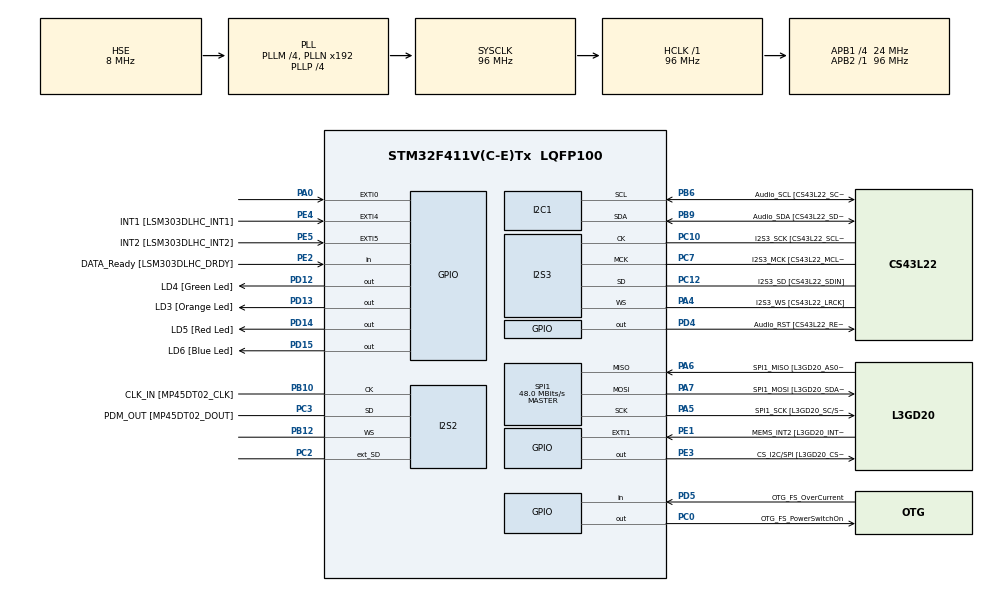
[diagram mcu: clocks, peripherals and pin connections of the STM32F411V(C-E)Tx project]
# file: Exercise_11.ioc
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FREERTOS.BinarySemaphores01=CriticalResourceSemaphore,Dynamic,NULL
FREERTOS.Tasks01=GreenLED_Task,0,128,Start_GreenLED_Task,Default,NULL,Dynamic,NULL,NULL;RedLED_Task,2,128,Start_RedLED_Task,Default,NULL,Dynamic,NULL,NULL;OrangeLED_Task,1,128,Start_OrangeLED_Task,Default,NULL,Dynamic,NULL,NULL
I2S2.AudioFreq=I2S_AUDIOFREQ_96K
I2S2.ErrorAudioFreq=0.15 %
I2S2.FullDuplexMode=I2S_FULLDUPLEXMODE_ENABLE
I2S2.Instance=SPI$Index
I2S2.RealAudioFreq=96.153 KHz
I2S2.VirtualMode=I2S_MODE_MASTER
I2S3.AudioFreq=I2S_AUDIOFREQ_96K
I2S3.ErrorAudioFreq=-6.99 %
I2S3.FullDuplexMode=I2S_FULLDUPLEXMODE_DISABLE
I2S3.Instance=SPI$Index
I2S3.RealAudioFreq=89.285 KHz
I2S3.VirtualMode=I2S_MODE_MASTER
Mcu.Family=STM32F4
Mcu.Name=STM32F411V(C-E)Tx
Mcu.Package=LQFP100
NVIC.PriorityGroup=NVIC_PRIORITYGROUP_4
NVIC.TIM1_UP_TIM10_IRQn=true\:0\:0\:false\:false\:true\:false\:false\:true
NVIC.TimeBase=TIM1_UP_TIM10_IRQn
NVIC.TimeBaseIP=TIM1
PA0-WKUP.GPIO_ModeDefaultEXTI=GPIO_MODE_EVT_RISING
PA0-WKUP.Signal=GPXTI0
PA10.GPIO_Label=OTG_FS_ID
PA10.Signal=USB_OTG_FS_ID
PA11.GPIO_Label=OTG_FS_DM
PA11.Signal=USB_OTG_FS_DM
PA12.GPIO_Label=OTG_FS_DP
PA12.Signal=USB_OTG_FS_DP
PA13.GPIO_Label=SWDIO
PA13.Mode=Serial_Wire
PA13.Signal=SYS_JTMS-SWDIO
PA14.GPIO_Label=SWCLK
PA14.Mode=Serial_Wire
PA14.Signal=SYS_JTCK-SWCLK
PA4.GPIO_Label=I2S3_WS [CS43L22_LRCK]
PA4.GPIO_Mode=GPIO_MODE_AF_PP
PA4.GPIO_PuPd=GPIO_NOPULL
PA4.GPIO_Speed=GPIO_SPEED_FREQ_LOW
PA4.Mode=Half_Duplex_Master
PA4.Signal=I2S3_WS
PA5.GPIO_Label=SPI1_SCK [L3GD20_SC/SPC]
PA5.Mode=Full_Duplex_Master
PA5.Signal=SPI1_SCK
PA6.GPIO_Label=SPI1_MISO [L3GD20_AS0/SDO]
PA6.Mode=Full_Duplex_Master
PA6.Signal=SPI1_MISO
PA7.GPIO_Label=SPI1_MOSI [L3GD20_SDA/SDI/SDO]
PA7.Mode=Full_Duplex_Master
PA7.Signal=SPI1_MOSI
PA9.GPIO_Label=VBUS_FS
PA9.Signal=USB_OTG_FS_VBUS
PB10.GPIO_Label=CLK_IN [MP45DT02_CLK]
PB10.Mode=Full_Duplex_Master
PB10.Signal=I2S2_CK
PB12.Mode=Full_Duplex_Master
PB12.Signal=I2S2_WS
PB3.GPIO_Label=SWO
PB3.Signal=SYS_JTDO-SWO
PB6.GPIO_Label=Audio_SCL [CS43L22_SCL]
PB6.GPIO_Mode=GPIO_MODE_AF_OD
PB6.GPIO_PuPd=GPIO_NOPULL
PB6.GPIO_Speed=GPIO_SPEED_FREQ_LOW
PB6.Mode=I2C
PB6.Signal=I2C1_SCL
PB9.GPIO_Label=Audio_SDA [CS43L22_SDA]
PB9.GPIO_Mode=GPIO_MODE_AF_OD
PB9.GPIO_PuPd=GPIO_NOPULL
PB9.GPIO_Speed=GPIO_SPEED_FREQ_LOW
PB9.Mode=I2C
PB9.Signal=I2C1_SDA
PC0.GPIO_Label=OTG_FS_PowerSwitchOn
PC0.PinState=GPIO_PIN_SET
PC0.Signal=GPIO_Output
PC10.GPIO_Label=I2S3_SCK [CS43L22_SCLK]
PC10.GPIO_Mode=GPIO_MODE_AF_PP
PC10.GPIO_PuPd=GPIO_NOPULL
PC10.GPIO_Speed=GPIO_SPEED_FREQ_LOW
PC10.Mode=Half_Duplex_Master
PC10.Signal=I2S3_CK
PC12.GPIO_Label=I2S3_SD [CS43L22_SDIN]
PC12.GPIO_Mode=GPIO_MODE_AF_PP
PC12.GPIO_PuPd=GPIO_NOPULL
PC12.GPIO_Speed=GPIO_SPEED_FREQ_LOW
PC12.Mode=Half_Duplex_Master
PC12.Signal=I2S3_SD
PC14-OSC32_IN.GPIO_Label=PC14-OSC32_IN
PC14-OSC32_IN.Mode=LSE-External-Oscillator
PC14-OSC32_IN.Signal=RCC_OSC32_IN
PC15-OSC32_OUT.GPIO_Label=PC15-OSC32_OUT
PC15-OSC32_OUT.Mode=LSE-External-Oscillator
PC15-OSC32_OUT.Signal=RCC_OSC32_OUT
PC2.Mode=Full_Duplex_Master
PC2.Signal=I2S2_ext_SD
PC3.GPIO_Label=PDM_OUT [MP45DT02_DOUT]
PC3.Mode=Full_Duplex_Master
PC3.Signal=I2S2_SD
PC7.GPIO_Label=I2S3_MCK [CS43L22_MCLK]
PC7.GPIO_Mode=GPIO_MODE_AF_PP
PC7.GPIO_PuPd=GPIO_NOPULL
PC7.GPIO_Speed=GPIO_SPEED_FREQ_LOW
PC7.Mode=Master_Clock_Activated
PC7.Signal=I2S3_MCK
PD12.GPIO_Label=LD4 [Green Led]
PD12.GPIO_PuPd=GPIO_NOPULL
PD12.GPIO_Speed=GPIO_SPEED_FREQ_LOW
PD12.Signal=GPIO_Output
PD13.GPIO_Label=LD3 [Orange Led]
PD13.GPIO_PuPd=GPIO_NOPULL
PD13.GPIO_Speed=GPIO_SPEED_FREQ_LOW
PD13.Signal=GPIO_Output
PD14.GPIO_Label=LD5 [Red Led]
PD14.GPIO_PuPd=GPIO_NOPULL
PD14.GPIO_Speed=GPIO_SPEED_FREQ_LOW
PD14.Signal=GPIO_Output
PD15.GPIO_Label=LD6 [Blue Led]
PD15.GPIO_PuPd=GPIO_NOPULL
PD15.GPIO_Speed=GPIO_SPEED_FREQ_LOW
PD15.Signal=GPIO_Output
PD4.GPIO_Label=Audio_RST [CS43L22_RESET]
PD4.Signal=GPIO_Output
PD5.GPIO_Label=OTG_FS_OverCurrent
PD5.Signal=GPIO_Input
PE1.GPIO_Label=MEMS_INT2 [L3GD20_INT2]
PE1.GPIO_ModeDefaultEXTI=GPIO_MODE_EVT_RISING
PE1.Signal=GPXTI1
PE2.GPIO_Label=DATA_Ready [LSM303DLHC_DRDY]
PE2.Signal=GPIO_Input
PE3.GPIO_Label=CS_I2C/SPI [L3GD20_CS_I2C/SPI]
PE3.Signal=GPIO_Output
PE4.GPIO_Label=INT1 [LSM303DLHC_INT1]
PE4.GPIO_ModeDefaultEXTI=GPIO_MODE_EVT_RISING
PE4.Signal=GPXTI4
PE5.GPIO_Label=INT2 [LSM303DLHC_INT2]
PE5.GPIO_ModeDefaultEXTI=GPIO_MODE_EVT_RISING
PE5.Signal=GPXTI5
PH0\ -\ OSC_IN.GPIO_Label=PH0-OSC_IN
PH0\ -\ OSC_IN.Mode=HSE-External-Clock-Source
PH0\ -\ OSC_IN.Signal=RCC_OSC_IN
PH1\ -\ OSC_OUT.GPIO_Label=PH1-OSC_OUT
PH1\ -\ OSC_OUT.Mode=HSE-External-Clock-Source
PH1\ -\ OSC_OUT.Signal=RCC_OSC_OUT
ProjectManager.HeapSize=0x200
ProjectManager.StackSize=0x400
ProjectManager.TargetToolchain=STM32CubeIDE
RCC.48MHZClocksFreq_Value=48000000
RCC.AHBFreq_Value=96000000
RCC.APB1CLKDivider=RCC_HCLK_DIV4
RCC.APB1Freq_Value=24000000
RCC.APB1TimFreq_Value=48000000
RCC.APB2Freq_Value=96000000
RCC.APB2TimFreq_Value=96000000
RCC.CortexFreq_Value=96000000
RCC.HCLKFreq_Value=96000000
RCC.HSE_VALUE=8000000
RCC.HSI_VALUE=16000000
RCC.PLLI2SM=5
RCC.PLLI2SN=200
RCC.PLLM=4
RCC.PLLP=RCC_PLLP_DIV4
RCC.PLLQ=8
RCC.PLLSourceVirtual=RCC_PLLSOURCE_HSE
RCC.SYSCLKFreq_VALUE=96000000
RCC.SYSCLKSource=RCC_SYSCLKSOURCE_PLLCLK
RCC.VCOOutputFreq_Value=384000000
SPI1.BaudRatePrescaler=SPI_BAUDRATEPRESCALER_2
SPI1.CalculateBaudRate=48.0 MBits/s
SPI1.Direction=SPI_DIRECTION_2LINES
SPI1.Mode=SPI_MODE_MASTER
SPI1.VirtualType=VM_MASTER
VP_FREERTOS_VS_CMSIS_V1.Mode=CMSIS_V1
VP_SYS_VS_tim1.Mode=TIM1
board=STM32F411E-DISCO

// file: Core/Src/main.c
/* USER CODE BEGIN Header */
/**
  ******************************************************************************
  * @file           : main.c
  * @brief          : Main program body
  ******************************************************************************
  * @attention
  *
  * <h2><center>&copy; Copyright (c) 2023 STMicroelectronics.
  * All rights reserved.</center></h2>
  *
  * This software component is licensed by ST under Ultimate Liberty license
  * SLA0044, the "License"; You may not use this file except in compliance with
  * the License. You may obtain a copy of the License at:
  *                             www.st.com/SLA0044
  *
  ******************************************************************************
  */
/* USER CODE END Header */

#include "main.h"
#include "cmsis_os.h"

/* USER CODE BEGIN PD */
#define green GPIO_PIN_12
#define orange GPIO_PIN_13
#define red GPIO_PIN_14
#define blue GPIO_PIN_15
/* USER CODE END PD */

I2C_HandleTypeDef hi2c1;

I2S_HandleTypeDef hi2s2;
I2S_HandleTypeDef hi2s3;

SPI_HandleTypeDef hspi1;

osThreadId GreenLED_TaskHandle;
osThreadId RedLED_TaskHandle;
osThreadId OrangeLED_TaskHandle;
osSemaphoreId CriticalResourceSemaphoreHandle;

void SystemClock_Config(void);
static void MX_GPIO_Init(void);
static void MX_I2C1_Init(void);
static void MX_I2S2_Init(void);
static void MX_I2S3_Init(void);
static void MX_SPI1_Init(void);
void Start_GreenLED_Task(void const * argument);
void Start_RedLED_Task(void const * argument);
void Start_OrangeLED_Task(void const * argument);

/* USER CODE BEGIN PFP */
int Start_Flag = 1;
/* USER CODE END PFP */

int main(void)
{

  /* MCU Configuration--------------------------------------------------------*/

  /* Reset of all peripherals, Initializes the Flash interface and the Systick. */
  HAL_Init();

  /* Configure the system clock */
  SystemClock_Config();

  /* Initialize all configured peripherals */
  MX_GPIO_Init();
  MX_I2C1_Init();
  MX_I2S2_Init();
  MX_I2S3_Init();
  MX_SPI1_Init();

  /* Create the semaphores(s) */
  /* definition and creation of CriticalResourceSemaphore */
  osSemaphoreDef(CriticalResourceSemaphore);
  CriticalResourceSemaphoreHandle = osSemaphoreCreate(osSemaphore(CriticalResourceSemaphore), 1);

  /* Create the thread(s) */
  /* definition and creation of GreenLED_Task */
  osThreadDef(GreenLED_Task, Start_GreenLED_Task, osPriorityNormal, 0, 128);
  GreenLED_TaskHandle = osThreadCreate(osThread(GreenLED_Task), NULL);

  /* definition and creation of RedLED_Task */
  osThreadDef(RedLED_Task, Start_RedLED_Task, osPriorityHigh, 0, 128);
  RedLED_TaskHandle = osThreadCreate(osThread(RedLED_Task), NULL);

  /* definition and creation of OrangeLED_Task */
  osThreadDef(OrangeLED_Task, Start_OrangeLED_Task, osPriorityAboveNormal, 0, 128);
  OrangeLED_TaskHandle = osThreadCreate(osThread(OrangeLED_Task), NULL);

  /* Start scheduler */
  osKernelStart();

  /* We should never get here as control is now taken by the scheduler */

  /* Infinite loop */
  while (1)
  {

  }
}

void SystemClock_Config(void)
{
  RCC_OscInitTypeDef RCC_OscInitStruct = {0};
  RCC_ClkInitTypeDef RCC_ClkInitStruct = {0};
  RCC_PeriphCLKInitTypeDef PeriphClkInitStruct = {0};

  /** Configure the main internal regulator output voltage
  */
  __HAL_RCC_PWR_CLK_ENABLE();
  __HAL_PWR_VOLTAGESCALING_CONFIG(PWR_REGULATOR_VOLTAGE_SCALE1);
  /** Initializes the CPU, AHB and APB busses clocks
  */
  RCC_OscInitStruct.OscillatorType = RCC_OSCILLATORTYPE_HSE;
  RCC_OscInitStruct.HSEState = RCC_HSE_BYPASS;
  RCC_OscInitStruct.PLL.PLLState = RCC_PLL_ON;
  RCC_OscInitStruct.PLL.PLLSource = RCC_PLLSOURCE_HSE;
  RCC_OscInitStruct.PLL.PLLM = 4;
  RCC_OscInitStruct.PLL.PLLN = 192;
  RCC_OscInitStruct.PLL.PLLP = RCC_PLLP_DIV4;
  RCC_OscInitStruct.PLL.PLLQ = 8;
  if (HAL_RCC_OscConfig(&RCC_OscInitStruct) != HAL_OK)
  {
    Error_Handler();
  }
  /** Initializes the CPU, AHB and APB busses clocks
  */
  RCC_ClkInitStruct.ClockType = RCC_CLOCKTYPE_HCLK|RCC_CLOCKTYPE_SYSCLK
                              |RCC_CLOCKTYPE_PCLK1|RCC_CLOCKTYPE_PCLK2;
  RCC_ClkInitStruct.SYSCLKSource = RCC_SYSCLKSOURCE_PLLCLK;
  RCC_ClkInitStruct.AHBCLKDivider = RCC_SYSCLK_DIV1;
  RCC_ClkInitStruct.APB1CLKDivider = RCC_HCLK_DIV4;
  RCC_ClkInitStruct.APB2CLKDivider = RCC_HCLK_DIV1;

  if (HAL_RCC_ClockConfig(&RCC_ClkInitStruct, FLASH_LATENCY_3) != HAL_OK)
  {
    Error_Handler();
  }
  PeriphClkInitStruct.PeriphClockSelection = RCC_PERIPHCLK_I2S;
  PeriphClkInitStruct.PLLI2S.PLLI2SN = 200;
  PeriphClkInitStruct.PLLI2S.PLLI2SM = 5;
  PeriphClkInitStruct.PLLI2S.PLLI2SR = 2;
  if (HAL_RCCEx_PeriphCLKConfig(&PeriphClkInitStruct) != HAL_OK)
  {
    Error_Handler();
  }
}

static void MX_I2C1_Init(void)
{

  hi2c1.Instance = I2C1;
  hi2c1.Init.ClockSpeed = 100000;
  hi2c1.Init.DutyCycle = I2C_DUTYCYCLE_2;
  hi2c1.Init.OwnAddress1 = 0;
  hi2c1.Init.AddressingMode = I2C_ADDRESSINGMODE_7BIT;
  hi2c1.Init.DualAddressMode = I2C_DUALADDRESS_DISABLE;
  hi2c1.Init.OwnAddress2 = 0;
  hi2c1.Init.GeneralCallMode = I2C_GENERALCALL_DISABLE;
  hi2c1.Init.NoStretchMode = I2C_NOSTRETCH_DISABLE;
  if (HAL_I2C_Init(&hi2c1) != HAL_OK)
  {
    Error_Handler();
  }

}

static void MX_I2S2_Init(void)
{

  hi2s2.Instance = SPI2;
  hi2s2.Init.Mode = I2S_MODE_MASTER_TX;
  hi2s2.Init.Standard = I2S_STANDARD_PHILIPS;
  hi2s2.Init.DataFormat = I2S_DATAFORMAT_16B;
  hi2s2.Init.MCLKOutput = I2S_MCLKOUTPUT_DISABLE;
  hi2s2.Init.AudioFreq = I2S_AUDIOFREQ_96K;
  hi2s2.Init.CPOL = I2S_CPOL_LOW;
  hi2s2.Init.ClockSource = I2S_CLOCK_PLL;
  hi2s2.Init.FullDuplexMode = I2S_FULLDUPLEXMODE_ENABLE;
  if (HAL_I2S_Init(&hi2s2) != HAL_OK)
  {
    Error_Handler();
  }

}

static void MX_I2S3_Init(void)
{

  hi2s3.Instance = SPI3;
  hi2s3.Init.Mode = I2S_MODE_MASTER_TX;
  hi2s3.Init.Standard = I2S_STANDARD_PHILIPS;
  hi2s3.Init.DataFormat = I2S_DATAFORMAT_16B;
  hi2s3.Init.MCLKOutput = I2S_MCLKOUTPUT_ENABLE;
  hi2s3.Init.AudioFreq = I2S_AUDIOFREQ_96K;
  hi2s3.Init.CPOL = I2S_CPOL_LOW;
  hi2s3.Init.ClockSource = I2S_CLOCK_PLL;
  hi2s3.Init.FullDuplexMode = I2S_FULLDUPLEXMODE_DISABLE;
  if (HAL_I2S_Init(&hi2s3) != HAL_OK)
  {
    Error_Handler();
  }

}

static void MX_SPI1_Init(void)
{

  /* SPI1 parameter configuration*/
  hspi1.Instance = SPI1;
  hspi1.Init.Mode = SPI_MODE_MASTER;
  hspi1.Init.Direction = SPI_DIRECTION_2LINES;
  hspi1.Init.DataSize = SPI_DATASIZE_8BIT;
  hspi1.Init.CLKPolarity = SPI_POLARITY_LOW;
  hspi1.Init.CLKPhase = SPI_PHASE_1EDGE;
  hspi1.Init.NSS = SPI_NSS_SOFT;
  hspi1.Init.BaudRatePrescaler = SPI_BAUDRATEPRESCALER_2;
  hspi1.Init.FirstBit = SPI_FIRSTBIT_MSB;
  hspi1.Init.TIMode = SPI_TIMODE_DISABLE;
  hspi1.Init.CRCCalculation = SPI_CRCCALCULATION_DISABLE;
  hspi1.Init.CRCPolynomial = 10;
  if (HAL_SPI_Init(&hspi1) != HAL_OK)
  {
    Error_Handler();
  }

}

static void MX_GPIO_Init(void)
{
  GPIO_InitTypeDef GPIO_InitStruct = {0};

  /* GPIO Ports Clock Enable */
  __HAL_RCC_GPIOE_CLK_ENABLE();
  __HAL_RCC_GPIOC_CLK_ENABLE();
  __HAL_RCC_GPIOH_CLK_ENABLE();
  __HAL_RCC_GPIOA_CLK_ENABLE();
  __HAL_RCC_GPIOB_CLK_ENABLE();
  __HAL_RCC_GPIOD_CLK_ENABLE();

  /*Configure GPIO pin Output Level */
  HAL_GPIO_WritePin(CS_I2C_SPI_GPIO_Port, CS_I2C_SPI_Pin, GPIO_PIN_RESET);

  /*Configure GPIO pin Output Level */
  HAL_GPIO_WritePin(OTG_FS_PowerSwitchOn_GPIO_Port, OTG_FS_PowerSwitchOn_Pin, GPIO_PIN_SET);

  /*Configure GPIO pin Output Level */
  HAL_GPIO_WritePin(GPIOD, LD4_Pin|LD3_Pin|LD5_Pin|LD6_Pin
                          |Audio_RST_Pin, GPIO_PIN_RESET);

  /*Configure GPIO pin : DATA_Ready_Pin */
  GPIO_InitStruct.Pin = DATA_Ready_Pin;
  GPIO_InitStruct.Mode = GPIO_MODE_INPUT;
  GPIO_InitStruct.Pull = GPIO_NOPULL;
  HAL_GPIO_Init(DATA_Ready_GPIO_Port, &GPIO_InitStruct);

  /*Configure GPIO pin : CS_I2C_SPI_Pin */
  GPIO_InitStruct.Pin = CS_I2C_SPI_Pin;
  GPIO_InitStruct.Mode = GPIO_MODE_OUTPUT_PP;
  GPIO_InitStruct.Pull = GPIO_NOPULL;
  GPIO_InitStruct.Speed = GPIO_SPEED_FREQ_LOW;
  HAL_GPIO_Init(CS_I2C_SPI_GPIO_Port, &GPIO_InitStruct);

  /*Configure GPIO pins : INT1_Pin INT2_Pin MEMS_INT2_Pin */
  GPIO_InitStruct.Pin = INT1_Pin|INT2_Pin|MEMS_INT2_Pin;
  GPIO_InitStruct.Mode = GPIO_MODE_EVT_RISING;
  GPIO_InitStruct.Pull = GPIO_NOPULL;
  HAL_GPIO_Init(GPIOE, &GPIO_InitStruct);

  /*Configure GPIO pin : OTG_FS_PowerSwitchOn_Pin */
  GPIO_InitStruct.Pin = OTG_FS_PowerSwitchOn_Pin;
  GPIO_InitStruct.Mode = GPIO_MODE_OUTPUT_PP;
  GPIO_InitStruct.Pull = GPIO_NOPULL;
  GPIO_InitStruct.Speed = GPIO_SPEED_FREQ_LOW;
  HAL_GPIO_Init(OTG_FS_PowerSwitchOn_GPIO_Port, &GPIO_InitStruct);

  /*Configure GPIO pin : PA0 */
  GPIO_InitStruct.Pin = GPIO_PIN_0;
  GPIO_InitStruct.Mode = GPIO_MODE_EVT_RISING;
  GPIO_InitStruct.Pull = GPIO_NOPULL;
  HAL_GPIO_Init(GPIOA, &GPIO_InitStruct);

  /*Configure GPIO pins : LD4_Pin LD3_Pin LD5_Pin LD6_Pin
                           Audio_RST_Pin */
  GPIO_InitStruct.Pin = LD4_Pin|LD3_Pin|LD5_Pin|LD6_Pin
                          |Audio_RST_Pin;
  GPIO_InitStruct.Mode = GPIO_MODE_OUTPUT_PP;
  GPIO_InitStruct.Pull = GPIO_NOPULL;
  GPIO_InitStruct.Speed = GPIO_SPEED_FREQ_LOW;
  HAL_GPIO_Init(GPIOD, &GPIO_InitStruct);

  /*Configure GPIO pin : VBUS_FS_Pin */
  GPIO_InitStruct.Pin = VBUS_FS_Pin;
  GPIO_InitStruct.Mode = GPIO_MODE_INPUT;
  GPIO_InitStruct.Pull = GPIO_NOPULL;
  HAL_GPIO_Init(VBUS_FS_GPIO_Port, &GPIO_InitStruct);

  /*Configure GPIO pins : OTG_FS_ID_Pin OTG_FS_DM_Pin OTG_FS_DP_Pin */
  GPIO_InitStruct.Pin = OTG_FS_ID_Pin|OTG_FS_DM_Pin|OTG_FS_DP_Pin;
  GPIO_InitStruct.Mode = GPIO_MODE_AF_PP;
  GPIO_InitStruct.Pull = GPIO_NOPULL;
  GPIO_InitStruct.Speed = GPIO_SPEED_FREQ_VERY_HIGH;
  GPIO_InitStruct.Alternate = GPIO_AF10_OTG_FS;
  HAL_GPIO_Init(GPIOA, &GPIO_InitStruct);

  /*Configure GPIO pin : OTG_FS_OverCurrent_Pin */
  GPIO_InitStruct.Pin = OTG_FS_OverCurrent_Pin;
  GPIO_InitStruct.Mode = GPIO_MODE_INPUT;
  GPIO_InitStruct.Pull = GPIO_NOPULL;
  HAL_GPIO_Init(OTG_FS_OverCurrent_GPIO_Port, &GPIO_InitStruct);

}

/* USER CODE BEGIN 4 */
void Access_Function()
{
	osSemaphoreWait(CriticalResourceSemaphoreHandle, osWaitForever);// semaphore P (wait for forever)
	if (Start_Flag == 1)
	{
		Start_Flag = 0;
	}
	else
	{
		HAL_GPIO_WritePin(GPIOD, blue, GPIO_PIN_SET);
	}
	for(int i = 0; i < 20; i++) // 2 seconds software delay used not to suspend the task (the task has to run)
	{
		HAL_GPIO_WritePin(GPIOD, blue, GPIO_PIN_SET); // Set Green LED
	    for(int i = 0; i < 75000; i++); // 0.5 seconds software delay used not to suspend the task (the task has to run)
	    HAL_GPIO_WritePin(GPIOD, blue, GPIO_PIN_RESET); // Reset Green LED
	    for(int i = 0; i < 75000; i++); // 0.5 seconds software delay used not to suspend the task (the task has to run)
	}
	Start_Flag = 1;
    osSemaphoreRelease(CriticalResourceSemaphoreHandle);// semaphore V (resume)
}
/* USER CODE END 4 */

void Start_GreenLED_Task(void const * argument)
{
  /* USER CODE BEGIN 5 */
  /* Infinite loop */
  for(;;)
  {
	  Access_Function();
	  for(int i = 0; i <= 40; i++)
	  {
	  	HAL_GPIO_WritePin(GPIOD, green, GPIO_PIN_SET); // Set Green LED
	    for(int i = 0; i < 75000; i++); // 0.5 seconds software delay used not to suspend the task (the task has to run)
	  	HAL_GPIO_WritePin(GPIOD, green, GPIO_PIN_RESET); // Reset Green LED
	  	for(int i = 0; i < 75000; i++); // 0.5 seconds software delay used not to suspend the task (the task has to run)
	  }
	  vTaskSuspend(NULL);
  }
  /* USER CODE END 5 */
}

void Start_RedLED_Task(void const * argument)
{
  /* USER CODE BEGIN Start_RedLED_Task */
  /* Infinite loop */
  for(;;)
  {
	 osDelay(1000);// 1 sec delay
	 Access_Function();
	 for(int i = 0; i <= 40; i++)
	 {
	    HAL_GPIO_WritePin(GPIOD, red, GPIO_PIN_SET); // Set Green LED
	  	for(int i = 0; i < 75000; i++); // 0.5 seconds software delay used not to suspend the task (the task has to run)
	  	HAL_GPIO_WritePin(GPIOD, red, GPIO_PIN_RESET); // Reset Green LED
	  	for(int i = 0; i < 75000; i++); // 0.5 seconds software delay used not to suspend the task (the task has to run)
	 }
	 vTaskSuspend(NULL);
  }
  /* USER CODE END Start_RedLED_Task */
}

void Start_OrangeLED_Task(void const * argument)
{
  /* USER CODE BEGIN Start_OrangeLED_Task */
  /* Infinite loop */
  for(;;)
  {
	osDelay(1000);// 1 sec delay
	for(int i = 0; i <= 40; i++)
    {
      HAL_GPIO_WritePin(GPIOD, orange, GPIO_PIN_SET); // Set Green LED
      for(int i = 0; i < 75000; i++); // 0.5 seconds software delay used not to suspend the task (the task has to run)
	  HAL_GPIO_WritePin(GPIOD, orange, GPIO_PIN_RESET); // Reset Green LED
	  for(int i = 0; i < 75000; i++); // 0.5 seconds software delay used not to suspend the task (the task has to run)
    }
    vTaskSuspend(NULL);
  }
  /* USER CODE END Start_OrangeLED_Task */
}

void HAL_TIM_PeriodElapsedCallback(TIM_HandleTypeDef *htim)
{
  if (htim->Instance == TIM1) {
    HAL_IncTick();
  }
}

void Error_Handler(void)
{
}

/************************ (C) COPYRIGHT STMicroelectronics *****END OF FILE****/
